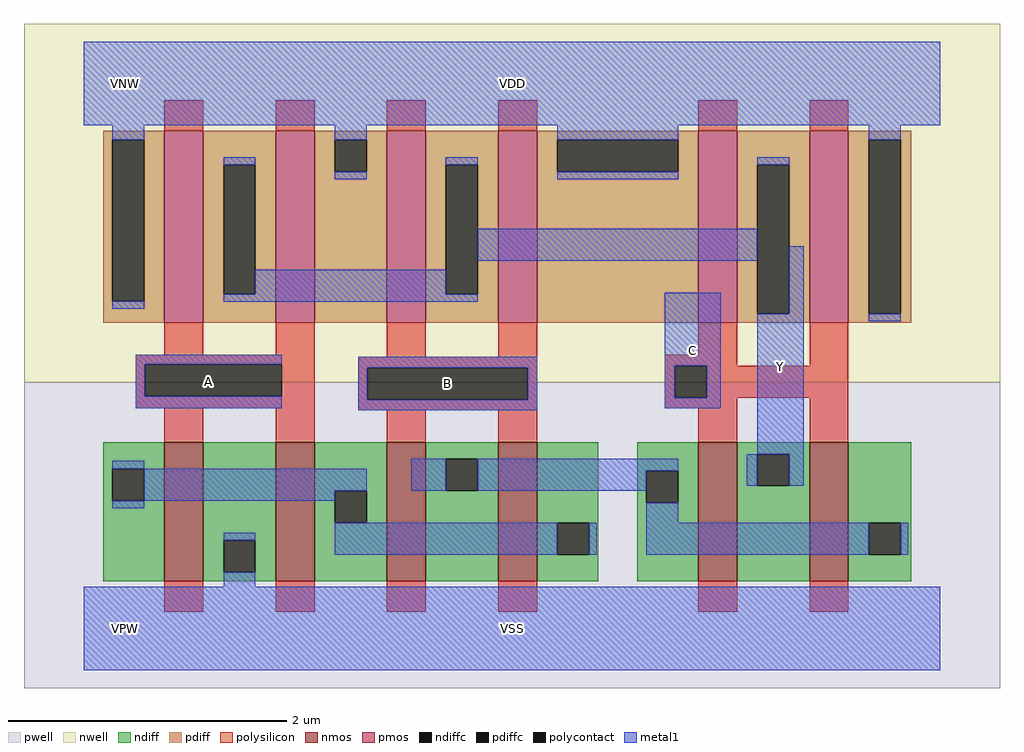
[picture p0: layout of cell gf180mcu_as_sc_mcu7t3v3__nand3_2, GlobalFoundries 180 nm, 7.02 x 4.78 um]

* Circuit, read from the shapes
.subckt gf180mcu_as_sc_mcu7t3v3__nand3_2 VDD VNW VPW VSS A B C Y
XM1 VSS A n1 VPW nfet_03v3 w=1u l=0.28u m=2
XM2 n2 B n1 VPW nfet_03v3 w=1u l=0.28u m=2
XM3 Y C n2 VPW nfet_03v3 w=1u l=0.28u m=2
XM4 Y A VDD VNW pfet_03v3 w=1.38u l=0.28u m=2
XM5 Y B VDD VNW pfet_03v3 w=1.38u l=0.28u m=2
XM6 Y C VDD VNW pfet_03v3 w=1.38u l=0.28u m=2
.ends

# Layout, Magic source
magic
tech gf180mcuD
magscale 1 10
<< nwell >>
rect -86 354 1318 870
<< pwell >>
rect -86 -86 1318 354
<< nmos >>
rect 116 68 172 268
rect 276 68 332 268
rect 436 68 492 268
rect 596 68 652 268
rect 884 68 940 268
rect 1044 68 1100 268
<< pmos >>
rect 116 440 172 716
rect 276 440 332 716
rect 436 440 492 716
rect 596 440 652 716
rect 884 440 940 716
rect 1044 440 1100 716
<< ndiff >>
rect 28 230 116 268
rect 28 184 41 230
rect 87 184 116 230
rect 28 68 116 184
rect 172 127 276 268
rect 172 81 201 127
rect 247 81 276 127
rect 172 68 276 81
rect 332 198 436 268
rect 332 152 361 198
rect 407 152 436 198
rect 332 68 436 152
rect 492 244 596 268
rect 492 198 521 244
rect 567 198 596 244
rect 492 68 596 198
rect 652 152 740 268
rect 652 106 681 152
rect 727 106 740 152
rect 652 68 740 106
rect 796 227 884 268
rect 796 181 809 227
rect 855 181 884 227
rect 796 68 884 181
rect 940 251 1044 268
rect 940 205 969 251
rect 1015 205 1044 251
rect 940 68 1044 205
rect 1100 152 1190 268
rect 1100 106 1129 152
rect 1175 106 1190 152
rect 1100 68 1190 106
<< pdiff >>
rect 28 703 116 716
rect 28 471 41 703
rect 87 471 116 703
rect 28 440 116 471
rect 172 667 276 716
rect 172 481 201 667
rect 247 481 276 667
rect 172 440 276 481
rect 332 703 436 716
rect 332 657 361 703
rect 407 657 436 703
rect 332 440 436 657
rect 492 667 596 716
rect 492 481 521 667
rect 567 481 596 667
rect 492 440 596 481
rect 652 703 884 716
rect 652 657 681 703
rect 855 657 884 703
rect 652 440 884 657
rect 940 667 1044 716
rect 940 453 969 667
rect 1015 453 1044 667
rect 940 440 1044 453
rect 1100 703 1190 716
rect 1100 453 1129 703
rect 1175 453 1190 703
rect 1100 440 1190 453
<< ndiffc >>
rect 41 184 87 230
rect 201 81 247 127
rect 361 152 407 198
rect 521 198 567 244
rect 681 106 727 152
rect 809 181 855 227
rect 969 205 1015 251
rect 1129 106 1175 152
<< pdiffc >>
rect 41 471 87 703
rect 201 481 247 667
rect 361 657 407 703
rect 521 481 567 667
rect 681 657 855 703
rect 969 453 1015 667
rect 1129 453 1175 703
<< polysilicon >>
rect 116 716 172 760
rect 276 716 332 760
rect 436 716 492 760
rect 596 716 652 760
rect 884 716 940 760
rect 1044 716 1100 760
rect 116 394 172 440
rect 276 394 332 440
rect 75 380 332 394
rect 436 391 492 440
rect 596 391 652 440
rect 884 394 940 440
rect 75 334 88 380
rect 285 334 332 380
rect 75 317 332 334
rect 116 268 172 317
rect 276 268 332 317
rect 395 375 652 391
rect 395 329 408 375
rect 639 329 652 375
rect 395 314 652 329
rect 836 378 940 394
rect 1044 378 1100 440
rect 836 332 850 378
rect 896 332 1100 378
rect 836 317 940 332
rect 436 268 492 314
rect 596 268 652 314
rect 884 268 940 317
rect 1044 268 1100 332
rect 116 24 172 68
rect 276 24 332 68
rect 436 24 492 68
rect 596 24 652 68
rect 884 24 940 68
rect 1044 24 1100 68
<< polycontact >>
rect 88 334 285 380
rect 408 329 639 375
rect 850 332 896 378
<< metal1 >>
rect 0 724 1232 844
rect 41 703 87 724
rect 361 703 407 724
rect 41 460 87 471
rect 201 667 247 678
rect 681 703 855 724
rect 361 646 407 657
rect 521 667 567 678
rect 247 481 521 516
rect 1129 703 1175 724
rect 681 646 855 657
rect 969 667 1015 678
rect 567 529 969 575
rect 201 470 567 481
rect 75 380 285 394
rect 75 334 88 380
rect 75 317 285 334
rect 395 375 652 391
rect 395 329 408 375
rect 639 329 652 375
rect 395 314 652 329
rect 836 378 916 483
rect 836 332 850 378
rect 896 332 916 378
rect 836 317 916 332
rect 1015 453 1036 550
rect 969 251 1036 453
rect 1129 442 1175 453
rect 41 230 87 241
rect 87 198 407 230
rect 471 198 521 244
rect 567 227 855 244
rect 567 198 809 227
rect 87 184 361 198
rect 41 173 87 184
rect 954 205 969 251
rect 1015 205 1036 251
rect 809 152 855 181
rect 201 127 247 138
rect 361 106 681 152
rect 727 106 738 152
rect 809 106 1129 152
rect 1175 106 1186 152
rect 201 60 247 81
rect 0 -60 1232 60
<< labels >>
flabel metal1 s 0 724 1232 844 0 FreeSans 400 0 0 0 VDD
port 1 nsew power bidirectional abutment
flabel metal1 s 0 -60 1232 60 0 FreeSans 400 0 0 0 VSS
port 4 nsew ground bidirectional abutment
flabel nwell s 10 734 110 834 0 FreeSans 400 0 0 0 VNW
port 2 nsew power bidirectional
flabel pwell s 10 -50 110 50 0 FreeSans 400 0 0 0 VPW
port 3 nsew ground bidirectional
flabel metal1 75 317 285 394 0 FreeSans 200 0 0 0 A
port 5 nsew signal input
flabel metal1 395 314 652 391 0 FreeSans 200 0 0 0 B
port 6 nsew signal input
flabel metal1 836 317 916 483 0 FreeSans 200 0 0 0 C
port 7 nsew signal input
flabel metal1 969 205 1036 550 0 FreeSans 200 0 0 0 Y
port 8 nsew signal output
<< properties >>
string FIXED_BBOX 0 0 1232 784
string LEFclass CORE
string LEFsite unithd
string LEFsymmetry X Y
string MASKHINTS_NPLUS -16 -46 1248 354
string MASKHINTS_PPLUS -16 354 1248 830
<< end >>
